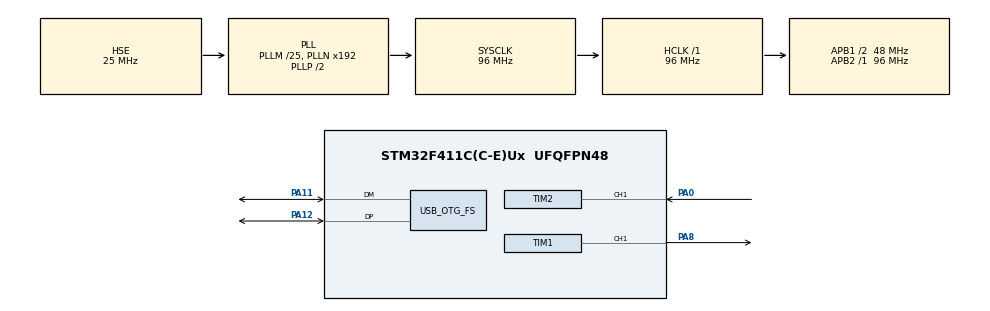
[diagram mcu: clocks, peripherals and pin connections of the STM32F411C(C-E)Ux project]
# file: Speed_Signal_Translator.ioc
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Mcu.Family=STM32F4
Mcu.Name=STM32F411C(C-E)Ux
Mcu.Package=UFQFPN48
NVIC.OTG_FS_IRQn=true\:0\:0\:false\:false\:true\:false\:true\:true
NVIC.PriorityGroup=NVIC_PRIORITYGROUP_4
NVIC.TIM2_IRQn=true\:0\:0\:false\:false\:true\:true\:true\:true
PA0-WKUP.Signal=S_TIM2_CH1_ETR
PA11.Mode=Device_Only
PA11.Signal=USB_OTG_FS_DM
PA12.Mode=Device_Only
PA12.Signal=USB_OTG_FS_DP
PA13.Mode=Serial_Wire
PA13.Signal=SYS_JTMS-SWDIO
PA14.Mode=Serial_Wire
PA14.Signal=SYS_JTCK-SWCLK
PA8.Signal=S_TIM1_CH1
PH0\ -\ OSC_IN.Mode=HSE-External-Oscillator
PH0\ -\ OSC_IN.Signal=RCC_OSC_IN
PH1\ -\ OSC_OUT.Mode=HSE-External-Oscillator
PH1\ -\ OSC_OUT.Signal=RCC_OSC_OUT
ProjectManager.HeapSize=0x200
ProjectManager.StackSize=0x400
ProjectManager.TargetToolchain=CMake
RCC.48MHZClocksFreq_Value=48000000
RCC.AHBFreq_Value=96000000
RCC.APB1CLKDivider=RCC_HCLK_DIV2
RCC.APB1Freq_Value=48000000
RCC.APB1TimFreq_Value=96000000
RCC.APB2Freq_Value=96000000
RCC.APB2TimFreq_Value=96000000
RCC.CortexFreq_Value=96000000
RCC.HCLKFreq_Value=96000000
RCC.HSE_VALUE=25000000
RCC.HSI_VALUE=16000000
RCC.LSE_VALUE=32768
RCC.PLLM=25
RCC.SYSCLKFreq_VALUE=96000000
RCC.SYSCLKSource=RCC_SYSCLKSOURCE_PLLCLK
RCC.VCOOutputFreq_Value=192000000
SH.S_TIM1_CH1.0=TIM1_CH1,PWM Generation1 CH1
SH.S_TIM2_CH1_ETR.0=TIM2_CH1,Input_Capture1_from_TI1
TIM1.Channel-PWM\ Generation1\ CH1=TIM_CHANNEL_1
TIM1.Period=4799
TIM1.Pulse-PWM\ Generation1\ CH1=2400
TIM2.Channel-Input_Capture1_from_TI1=TIM_CHANNEL_1
USB_DEVICE.CLASS_NAME_FS=CDC
USB_DEVICE.VirtualMode=Cdc
USB_DEVICE.VirtualModeFS=Cdc_FS
USB_OTG_FS.VirtualMode=Device_Only
VP_TIM1_VS_ClockSourceINT.Mode=Internal
VP_TIM2_VS_ClockSourceINT.Mode=Internal
VP_USB_DEVICE_VS_USB_DEVICE_CDC_FS.Mode=CDC_FS
board=custom

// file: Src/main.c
/* USER CODE BEGIN Header */
/**
 ******************************************************************************
 * @file           : main.c
 * @brief          : STM32F411 USB CDC Manual PWM Controller
 *
 * Project: UTRA Speed Signal Translator
 *
 * Features:
 * - 96 MHz system clock
 * - 48 MHz USB clock
 * - TIM1 CH1 PWM output on PA8
 * - Manual PWM, initially 20 kHz at 50%
 * - USB CDC communication
 * - TIM2 CH1 input capture on PA0
 *
 ******************************************************************************
 */
/* USER CODE END Header */
#include "main.h"
#include "usb_device.h"

/* USER CODE BEGIN Includes */
#include "pwm_control.h"

#include "usbd_cdc_if.h"
#include <stdio.h>
/* USER CODE END Includes */

/* USER CODE BEGIN PD */
#define SPEED_PULSES_PER_REV 600U
#define SPEED_TIMEOUT_MS 500U

/* USER CODE END PD */

TIM_HandleTypeDef htim1;
TIM_HandleTypeDef htim2;

/* USER CODE BEGIN PV */
static volatile uint32_t speed_last_capture = 0;
static volatile uint32_t speed_period_ticks = 0;
static volatile uint32_t speed_last_edge_ms = 0;
static volatile uint8_t speed_have_first = 0;
static volatile uint8_t speed_period_valid = 0;

/* USER CODE END PV */

void SystemClock_Config(void);
static void MX_GPIO_Init(void);
static void MX_TIM1_Init(void);
static void MX_TIM2_Init(void);

/* USER CODE BEGIN 0 */
void Speed_Report(char *msg, size_t size) {
  uint32_t period, edge_ms;
  uint8_t valid, first;
  uint32_t primask = __get_PRIMASK();
  __disable_irq();
  uint32_t now = HAL_GetTick();
  period = speed_period_ticks;
  edge_ms = speed_last_edge_ms;

  valid = speed_period_valid;
  first = speed_have_first;
  __set_PRIMASK(primask);

  uint32_t hz_x10 = 0;
  uint32_t rpm_x10 = 0;
  if (valid && period != 0U && (uint32_t)(now - edge_ms) <= SPEED_TIMEOUT_MS) {
    /* Multiply before division to retain one decimal digit. */
    uint64_t numerator = (uint64_t)(HAL_RCC_GetPCLK1Freq() * ((RCC->CFGR & RCC_CFGR_PPRE1) ? 2U : 1U)) * 10ULL;
    hz_x10 = (uint32_t)(numerator / period);
    rpm_x10 = (uint32_t)((numerator * 60ULL) /
                         ((uint64_t)period * SPEED_PULSES_PER_REV));
  }

  const char *status = !first ? "NO_SIGNAL" : now - edge_ms > SPEED_TIMEOUT_MS ?
                       "TIMEOUT" : valid ? "VALID" : "ACQUIRING";
  snprintf(msg, size, "SPEED HZ=%lu.%lu RPM=%lu.%lu STATUS=%s\r\n",
           hz_x10 / 10UL, hz_x10 % 10UL, rpm_x10 / 10UL, rpm_x10 % 10UL, status);
}

/* USER CODE END 0 */

int main(void)
{

  /* MCU Configuration--------------------------------------------------------*/

  /* Reset of all peripherals, Initializes the Flash interface and the Systick. */
  HAL_Init();

  /* Configure the system clock */
  SystemClock_Config();

  /* Initialize all configured peripherals */
  MX_GPIO_Init();
  MX_TIM1_Init();
  MX_TIM2_Init();
  MX_USB_DEVICE_Init();
  /* USER CODE BEGIN 2 */

  /*
   * Initialize PWM at 20 kHz, 50% duty.
   * TIM1 PWM starts here.
   */
  PWM_Control_Init();

  if (HAL_TIM_IC_Start_IT(&htim2, TIM_CHANNEL_1) != HAL_OK) {
    Error_Handler();
  }

  /* USER CODE END 2 */

  /* Infinite loop */
  while (1) {

    /* USER CODE BEGIN 3 */

    /*
     * Process incoming USB CDC commands.
     */
    PWM_Control_Process();

  }
  /* USER CODE END 3 */
}

void SystemClock_Config(void)
{
  RCC_OscInitTypeDef RCC_OscInitStruct = {0};
  RCC_ClkInitTypeDef RCC_ClkInitStruct = {0};

  /** Configure the main internal regulator output voltage
  */
  __HAL_RCC_PWR_CLK_ENABLE();
  __HAL_PWR_VOLTAGESCALING_CONFIG(PWR_REGULATOR_VOLTAGE_SCALE1);

  /** Initializes the RCC Oscillators according to the specified parameters
  * in the RCC_OscInitTypeDef structure.
  */
  RCC_OscInitStruct.OscillatorType = RCC_OSCILLATORTYPE_HSE;
  RCC_OscInitStruct.HSEState = RCC_HSE_ON;
  RCC_OscInitStruct.PLL.PLLState = RCC_PLL_ON;
  RCC_OscInitStruct.PLL.PLLSource = RCC_PLLSOURCE_HSE;
  RCC_OscInitStruct.PLL.PLLM = 25;
  RCC_OscInitStruct.PLL.PLLN = 192;
  RCC_OscInitStruct.PLL.PLLP = RCC_PLLP_DIV2;
  RCC_OscInitStruct.PLL.PLLQ = 4;
  if (HAL_RCC_OscConfig(&RCC_OscInitStruct) != HAL_OK)
  {
    Error_Handler();
  }

  /** Initializes the CPU, AHB and APB buses clocks
  */
  RCC_ClkInitStruct.ClockType = RCC_CLOCKTYPE_HCLK|RCC_CLOCKTYPE_SYSCLK
                              |RCC_CLOCKTYPE_PCLK1|RCC_CLOCKTYPE_PCLK2;
  RCC_ClkInitStruct.SYSCLKSource = RCC_SYSCLKSOURCE_PLLCLK;
  RCC_ClkInitStruct.AHBCLKDivider = RCC_SYSCLK_DIV1;
  RCC_ClkInitStruct.APB1CLKDivider = RCC_HCLK_DIV2;
  RCC_ClkInitStruct.APB2CLKDivider = RCC_HCLK_DIV1;

  if (HAL_RCC_ClockConfig(&RCC_ClkInitStruct, FLASH_LATENCY_3) != HAL_OK)
  {
    Error_Handler();
  }
}

static void MX_TIM1_Init(void)
{

  TIM_ClockConfigTypeDef sClockSourceConfig = {0};
  TIM_MasterConfigTypeDef sMasterConfig = {0};
  TIM_OC_InitTypeDef sConfigOC = {0};
  TIM_BreakDeadTimeConfigTypeDef sBreakDeadTimeConfig = {0};

  htim1.Instance = TIM1;
  htim1.Init.Prescaler = 0;
  htim1.Init.CounterMode = TIM_COUNTERMODE_UP;
  htim1.Init.Period = 4799;
  htim1.Init.ClockDivision = TIM_CLOCKDIVISION_DIV1;
  htim1.Init.RepetitionCounter = 0;
  htim1.Init.AutoReloadPreload = TIM_AUTORELOAD_PRELOAD_DISABLE;
  if (HAL_TIM_Base_Init(&htim1) != HAL_OK)
  {
    Error_Handler();
  }
  sClockSourceConfig.ClockSource = TIM_CLOCKSOURCE_INTERNAL;
  if (HAL_TIM_ConfigClockSource(&htim1, &sClockSourceConfig) != HAL_OK)
  {
    Error_Handler();
  }
  if (HAL_TIM_PWM_Init(&htim1) != HAL_OK)
  {
    Error_Handler();
  }
  sMasterConfig.MasterOutputTrigger = TIM_TRGO_RESET;
  sMasterConfig.MasterSlaveMode = TIM_MASTERSLAVEMODE_DISABLE;
  if (HAL_TIMEx_MasterConfigSynchronization(&htim1, &sMasterConfig) != HAL_OK)
  {
    Error_Handler();
  }
  sConfigOC.OCMode = TIM_OCMODE_PWM1;
  sConfigOC.Pulse = 2400;
  sConfigOC.OCPolarity = TIM_OCPOLARITY_HIGH;
  sConfigOC.OCNPolarity = TIM_OCNPOLARITY_HIGH;
  sConfigOC.OCFastMode = TIM_OCFAST_DISABLE;
  sConfigOC.OCIdleState = TIM_OCIDLESTATE_RESET;
  sConfigOC.OCNIdleState = TIM_OCNIDLESTATE_RESET;
  if (HAL_TIM_PWM_ConfigChannel(&htim1, &sConfigOC, TIM_CHANNEL_1) != HAL_OK)
  {
    Error_Handler();
  }
  sBreakDeadTimeConfig.OffStateRunMode = TIM_OSSR_DISABLE;
  sBreakDeadTimeConfig.OffStateIDLEMode = TIM_OSSI_DISABLE;
  sBreakDeadTimeConfig.LockLevel = TIM_LOCKLEVEL_OFF;
  sBreakDeadTimeConfig.DeadTime = 0;
  sBreakDeadTimeConfig.BreakState = TIM_BREAK_DISABLE;
  sBreakDeadTimeConfig.BreakPolarity = TIM_BREAKPOLARITY_HIGH;
  sBreakDeadTimeConfig.AutomaticOutput = TIM_AUTOMATICOUTPUT_DISABLE;
  if (HAL_TIMEx_ConfigBreakDeadTime(&htim1, &sBreakDeadTimeConfig) != HAL_OK)
  {
    Error_Handler();
  }
  HAL_TIM_MspPostInit(&htim1);

}

static void MX_TIM2_Init(void)
{

  TIM_ClockConfigTypeDef sClockSourceConfig = {0};
  TIM_MasterConfigTypeDef sMasterConfig = {0};
  TIM_IC_InitTypeDef sConfigIC = {0};

  htim2.Instance = TIM2;
  htim2.Init.Prescaler = 0;
  htim2.Init.CounterMode = TIM_COUNTERMODE_UP;
  htim2.Init.Period = 4294967295;
  htim2.Init.ClockDivision = TIM_CLOCKDIVISION_DIV1;
  htim2.Init.AutoReloadPreload = TIM_AUTORELOAD_PRELOAD_DISABLE;
  if (HAL_TIM_Base_Init(&htim2) != HAL_OK)
  {
    Error_Handler();
  }
  sClockSourceConfig.ClockSource = TIM_CLOCKSOURCE_INTERNAL;
  if (HAL_TIM_ConfigClockSource(&htim2, &sClockSourceConfig) != HAL_OK)
  {
    Error_Handler();
  }
  if (HAL_TIM_IC_Init(&htim2) != HAL_OK)
  {
    Error_Handler();
  }
  sMasterConfig.MasterOutputTrigger = TIM_TRGO_RESET;
  sMasterConfig.MasterSlaveMode = TIM_MASTERSLAVEMODE_DISABLE;
  if (HAL_TIMEx_MasterConfigSynchronization(&htim2, &sMasterConfig) != HAL_OK)
  {
    Error_Handler();
  }
  sConfigIC.ICPolarity = TIM_INPUTCHANNELPOLARITY_RISING;
  sConfigIC.ICSelection = TIM_ICSELECTION_DIRECTTI;
  sConfigIC.ICPrescaler = TIM_ICPSC_DIV1;
  sConfigIC.ICFilter = 0;
  if (HAL_TIM_IC_ConfigChannel(&htim2, &sConfigIC, TIM_CHANNEL_1) != HAL_OK)
  {
    Error_Handler();
  }

}

static void MX_GPIO_Init(void)
{

  /* GPIO Ports Clock Enable */
  __HAL_RCC_GPIOH_CLK_ENABLE();
  __HAL_RCC_GPIOA_CLK_ENABLE();

}

/* USER CODE BEGIN 4 */
void HAL_TIM_IC_CaptureCallback(TIM_HandleTypeDef *htim) {
  if (htim->Instance != TIM2 || htim->Channel != HAL_TIM_ACTIVE_CHANNEL_1)
    return;

  uint32_t captured = HAL_TIM_ReadCapturedValue(htim, TIM_CHANNEL_1);
  uint32_t now = HAL_GetTick();

  if (!speed_have_first || (__HAL_TIM_GET_FLAG(htim, TIM_FLAG_CC1OF) != RESET) ||
      (uint32_t)(now - speed_last_edge_ms) > SPEED_TIMEOUT_MS) {
    __HAL_TIM_CLEAR_FLAG(htim, TIM_FLAG_CC1OF);
    /* First edge or restart: need another rising edge for a period. */
    speed_last_capture = captured;
    speed_last_edge_ms = now;
    speed_have_first = 1U;
    speed_period_valid = 0U;
    return;
  }

  /* Unsigned subtraction also handles a single 32-bit timer rollover. */
  uint32_t delta_ticks = captured - speed_last_capture;
  if (delta_ticks == 0U)
    return; /* Reject short glitches. */

  speed_last_capture = captured;
  speed_last_edge_ms = now;
  speed_period_ticks = delta_ticks;
  speed_period_valid = 1U;
}

/* USER CODE END 4 */

void Error_Handler(void)
{
  __disable_irq();
  while (1) {
  }
}
#ifdef USE_FULL_ASSERT
/**
  * @brief  Reports the name of the source file and the source line number
  *         where the assert_param error has occurred.
  * @param  file: pointer to the source file name
  * @param  line: assert_param error line source number
  * @retval None
  */
void assert_failed(uint8_t *file, uint32_t line)
{
  /* USER CODE BEGIN 6 */
  /* User can add his own implementation to report the file name and line
     number, ex: printf("Wrong parameters value: file %s on line %d\r\n", file,
     line) */
  /* USER CODE END 6 */
}
#endif /* USE_FULL_ASSERT */
